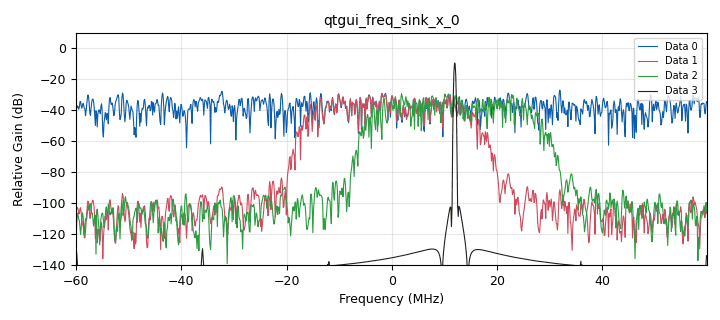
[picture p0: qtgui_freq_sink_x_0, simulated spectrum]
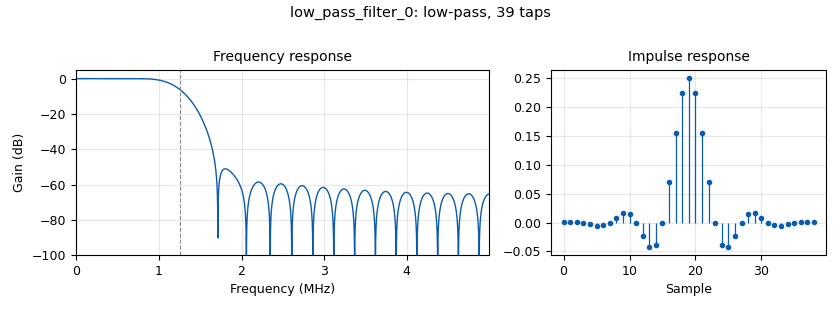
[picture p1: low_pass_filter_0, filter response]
options:
  parameters:
    author: yabool2001
    copyright: maciej.zemlo@gmail.pl
    description: https://wiki.gnuradio.org/index.php?title=Frequency_Shifting
    generate_options: qt_gui
    id: tuto_wikignuradio_Frequency_shifting
    output_language: python
    title: Wiki Tuto GNU Radio Frequency shifting Example
  states: {}

blocks:
- name: f
  id: variable_qtgui_range
  parameters:
    label: frequency
    start: '-samp_rate/2'
    step: '1'
    stop: samp_rate/2
    value: '0'
  states: {}
- name: f_c
  id: variable
  parameters:
    value: '1000000'
  states: {}
- name: f_cutoff
  id: variable
  parameters:
    value: samp_rate/8
  states: {}
- name: interpolation_rate
  id: variable
  parameters:
    value: '12'
  states: {}
- name: low_pass_filter_taps
  id: variable_low_pass_filter_taps
  parameters:
    cutoff_freq: f_cutoff
    gain: '1.0'
    samp_rate: samp_rate_interpolated
    width: trans_width
    win: window.WIN_HAMMING
  states: {}
- name: n
  id: variable
  parameters:
    value: '1024'
  states: {}
- name: samp_rate
  id: variable
  parameters:
    value: '10000000'
  states: {}
- name: samp_rate_interpolated
  id: variable
  parameters:
    value: samp_rate*interpolation_rate
  states: {}
- name: trans_width
  id: variable
  parameters:
    value: samp_rate/16
  states: {}
- name: analog_fastnoise_source_x_0
  id: analog_fastnoise_source_x
  parameters:
    amp: '1'
    noise_type: analog.GR_GAUSSIAN
    samples: '8192'
    seed: '0'
    type: complex
  states: {}
- name: analog_sig_source_x_0_0
  id: analog_sig_source_x
  parameters:
    amp: '1'
    freq: f_c
    offset: '0'
    phase: '0'
    samp_rate: samp_rate
    type: complex
    waveform: analog.GR_COS_WAVE
  states: {}
- name: blocks_multiply_xx_0
  id: blocks_multiply_xx
  parameters:
    type: complex
  states: {}
- name: blocks_throttle2_0
  id: blocks_throttle2
  parameters:
    samples_per_second: samp_rate_interpolated
    type: complex
  states: {}
- name: freq_xlating_fir_filter_xxx_0
  id: freq_xlating_fir_filter_xxx
  parameters:
    center_freq: '0'
    decim: '1'
    samp_rate: samp_rate
    taps: low_pass_filter_taps
    type: ccc
  states: {state: disabled}
- name: low_pass_filter_0
  id: low_pass_filter
  parameters:
    cutoff_freq: f_cutoff
    decim: '1'
    gain: '1'
    samp_rate: samp_rate
    type: fir_filter_ccf
    width: trans_width
    win: window.WIN_HAMMING
  states: {}
- name: qtgui_freq_sink_x_0
  id: qtgui_freq_sink_x
  parameters:
    bw: samp_rate_interpolated
    fc: '0'
    fftsize: '1024'
    nconnections: '4'
    type: complex
  states: {}

connections:
- [analog_fastnoise_source_x_0, '0', blocks_throttle2_0, '0']
- [analog_sig_source_x_0_0, '0', blocks_multiply_xx_0, '1']
- [analog_sig_source_x_0_0, '0', qtgui_freq_sink_x_0, '3']
- [blocks_multiply_xx_0, '0', qtgui_freq_sink_x_0, '2']
- [blocks_throttle2_0, '0', low_pass_filter_0, '0']
- [blocks_throttle2_0, '0', qtgui_freq_sink_x_0, '0']
- [low_pass_filter_0, '0', blocks_multiply_xx_0, '0']
- [low_pass_filter_0, '0', qtgui_freq_sink_x_0, '1']

metadata:
  file_format: 1
  grc_version: 3.10.10.0
